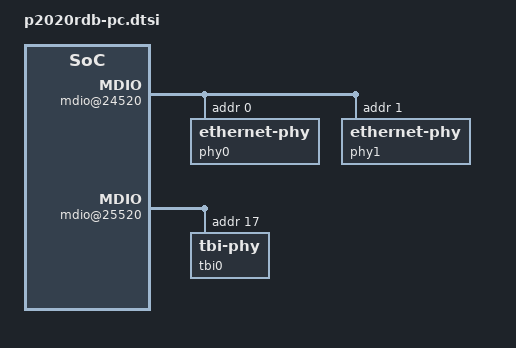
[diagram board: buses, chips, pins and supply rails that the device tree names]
// SPDX-License-Identifier: GPL-2.0+ OR X11
/*
 * P2020 RDB-PC Device Tree Source stub (no addresses or top-level ranges)
 *
 * Copyright 2011 Freescale Semiconductor Inc.
 * Copyright 2020 NXP
 */

&soc {
	mdio@24520 {
		phy0: ethernet-phy@0 {
			interrupts = <3 1 0 0>;
			reg = <0x0>;
			};
		phy1: ethernet-phy@1 {
			interrupts = <2 1 0 0>;
			reg = <0x1>;
			};
	};

	mdio@25520 {
		tbi0: tbi-phy@11 {
			reg = <0x11>;
			device_type = "tbi-phy";
		};
	};

	mdio@26520 {
		status = "disabled";
	};

	enet0: ethernet@24000 {
		phy-connection-type = "rgmii-id";
		fixed-link {
			speed = <1000>;
			full-duplex;
		};
	};

	enet1: ethernet@25000 {
		tbi-handle = <&tbi0>;
		phy-handle = <&phy0>;
		phy-connection-type = "sgmii";
	};

	enet2: ethernet@26000 {
		phy-handle = <&phy1>;
		phy-connection-type = "rgmii-id";
	};
};
